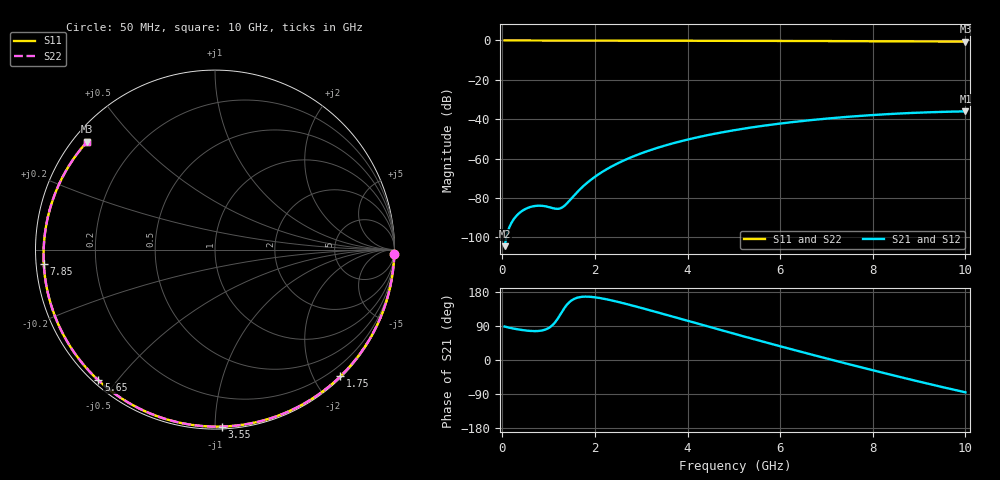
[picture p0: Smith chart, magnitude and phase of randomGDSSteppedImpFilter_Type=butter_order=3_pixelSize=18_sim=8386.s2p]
! freq	dB(S11)	phase(S11)	dB(S12)	phase(S12)
!  dB(S21)	phase(S21)	dB(S22)	phase(S22)
!S-par simulation data
#  GHz  S  DB  R 50
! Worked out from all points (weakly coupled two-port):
!   200 points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, 50 MHz to 10 GHz, reference 50 ohm
!   highest |S21| = -36.04 dB at 10 GHz (marker M1); lowest = -104.5 dB at 50 MHz (marker M2)
!   lowest |S11| = -0.6 dB at 10 GHz (marker M3), VSWR 28.63, Z = 1.98 + j18.2 ohm
!   |S11| at or under -10 dB: nowhere
!   |S22| runs from -0.6 to 0.0 dB; largest |S21 - S12| = 0
!   S11 on the Smith chart (normalised r, x): 50 MHz: 1, -89; 1.75 GHz: 0.02, -2.40; 3.55 GHz: 0.01, -1.04; 5.65 GHz: 0.01, -0.45; 7.85 GHz: 0.02, -0.04; 10 GHz: 0.04, +0.36
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0.05  -0.00 -1.3  -104.53 88.3  -104.53 88.3  -0.00 -1.3
0.4  -0.02 -10.5  -87.08 79.6  -87.08 79.6  -0.02 -10.5
0.75  -0.03 -19.7  -84.00 76.4  -84.00 76.4  -0.03 -19.7
1.1  -0.04 -28.8  -85.26 93.9  -85.26 93.9  -0.04 -28.8
1.5  -0.05 -39.0  -80.09 157.6  -80.09 157.6  -0.05 -39.0
1.75  -0.06 -45.3  -74.02 167.0  -74.02 167.0  -0.06 -45.3
2.05  -0.07 -52.7  -68.46 164.6  -68.46 164.6  -0.07 -52.7
2.45  -0.08 -62.4  -62.94 154.8  -62.94 154.8  -0.08 -62.4
2.9  -0.09 -73.0  -58.25 140.7  -58.25 140.7  -0.09 -73.0
3.4  -0.11 -84.4  -54.20 124.0  -54.20 124.0  -0.11 -84.4
3.55  -0.11 -87.8  -53.15 118.9  -53.15 118.9  -0.11 -87.8
4.25  -0.14 -103.0  -49.03 95.0  -49.03 95.0  -0.14 -103.0
5.05  -0.18 -119.7  -45.44 67.8  -45.44 67.8  -0.18 -119.7
5.65  -0.21 -131.8  -43.30 47.8  -43.30 47.8  -0.21 -131.8
6.2  -0.25 -142.7  -41.66 29.7  -41.66 29.7  -0.25 -142.7
6.7  -0.28 -152.5  -40.39 13.6  -40.39 13.6  -0.28 -152.5
7.3  -0.33 -164.2  -39.11 -5.3  -39.11 -5.3  -0.33 -164.2
7.85  -0.38 -175.1  -38.13 -22.4  -38.13 -22.4  -0.38 -175.1
8.35  -0.43 174.9  -37.40 -37.7  -37.40 -37.7  -0.43 174.9
8.8  -0.47 165.7  -36.88 -51.1  -36.88 -51.1  -0.47 165.7
9.2  -0.52 157.3  -36.51 -62.8  -36.51 -62.8  -0.52 157.3
10  -0.61 139.9  -36.04 -85.2  -36.04 -85.2  -0.61 139.9
